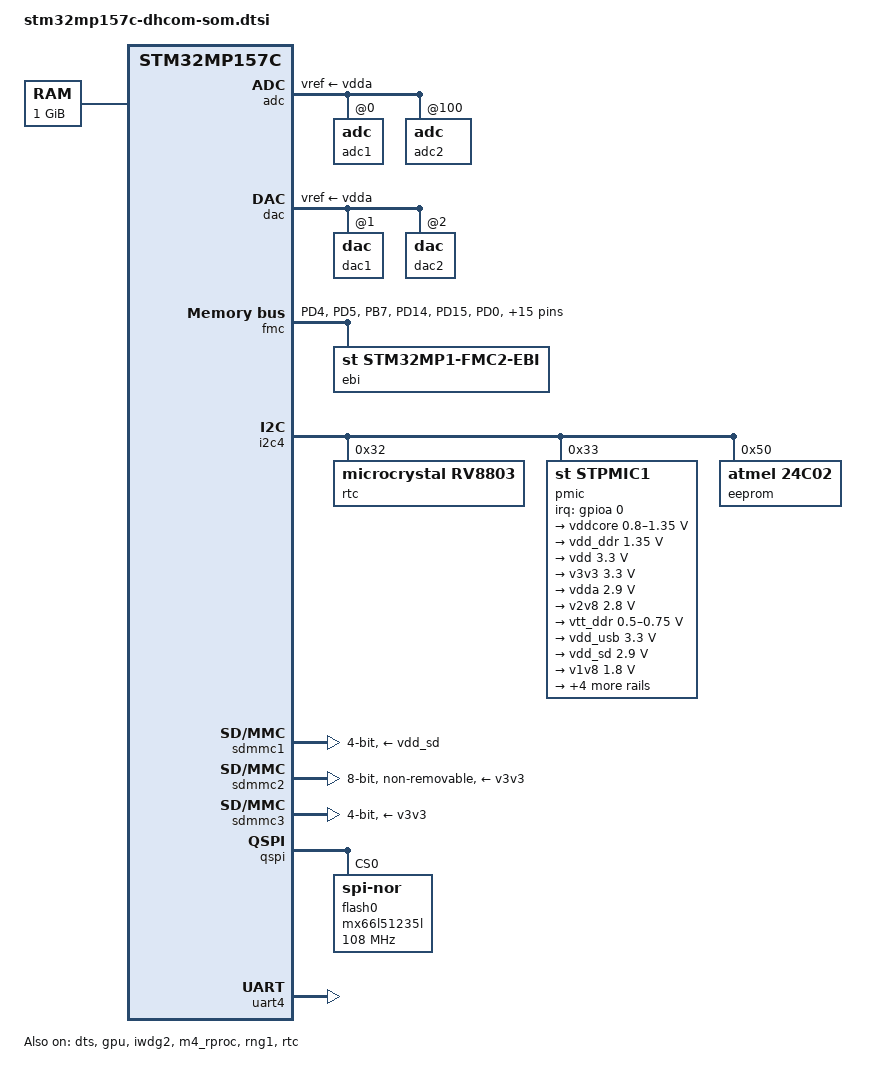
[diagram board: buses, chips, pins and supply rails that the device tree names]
// SPDX-License-Identifier: (GPL-2.0+ OR BSD-3-Clause)
/*
 * Copyright (C) 2019 Marek Vasut <marex@denx.de>
 */
/dts-v1/;

#include "stm32mp157c.dtsi"
#include "stm32mp157xaa-pinctrl.dtsi"
#include <dt-bindings/gpio/gpio.h>
#include <dt-bindings/mfd/st,stpmic1.h>

/ {
	memory@c0000000 {
		device_type = "memory";
		reg = <0xC0000000 0x40000000>;
	};

	reserved-memory {
		#address-cells = <1>;
		#size-cells = <1>;
		ranges;

		mcuram2: mcuram2@10000000 {
			compatible = "shared-dma-pool";
			reg = <0x10000000 0x40000>;
			no-map;
		};

		vdev0vring0: vdev0vring0@10040000 {
			compatible = "shared-dma-pool";
			reg = <0x10040000 0x1000>;
			no-map;
		};

		vdev0vring1: vdev0vring1@10041000 {
			compatible = "shared-dma-pool";
			reg = <0x10041000 0x1000>;
			no-map;
		};

		vdev0buffer: vdev0buffer@10042000 {
			compatible = "shared-dma-pool";
			reg = <0x10042000 0x4000>;
			no-map;
		};

		mcuram: mcuram@30000000 {
			compatible = "shared-dma-pool";
			reg = <0x30000000 0x40000>;
			no-map;
		};

		retram: retram@38000000 {
			compatible = "shared-dma-pool";
			reg = <0x38000000 0x10000>;
			no-map;
		};
	};
};

&adc {
	vdd-supply = <&vdd>;
	vdda-supply = <&vdda>;
	vref-supply = <&vdda>;
	status = "okay";

	adc1: adc@0 {
		st,min-sample-time-nsecs = <5000>;
		st,adc-channels = <0>;
		status = "okay";
	};

	adc2: adc@100 {
		st,adc-channels = <1>;
		st,min-sample-time-nsecs = <5000>;
		status = "okay";
	};
};

&dac {
	pinctrl-names = "default";
	pinctrl-0 = <&dac_ch1_pins_a &dac_ch2_pins_a>;
	vref-supply = <&vdda>;
	status = "okay";

	dac1: dac@1 {
		status = "okay";
	};
	dac2: dac@2 {
		status = "okay";
	};
};

&dts {
	status = "okay";
};

&fmc {
	pinctrl-names = "default", "sleep";
	pinctrl-0 = <&fmc_pins_b>;
	pinctrl-1 = <&fmc_sleep_pins_b>;
	status = "okay";
	#address-cells = <1>;
	#size-cells = <1>;
	/delete-property/interrupts;
	/delete-property/dmas;
	/delete-property/dma-names;
	reg = <0x58002000 0x1000>;
	ranges;

	ebi {
		#address-cells = <2>;
		#size-cells = <1>;
		compatible = "st,stm32mp1-fmc2-ebi";
		ranges = <0 0 0x60000000 0x4000000>,
			 <1 0 0x64000000 0x4000000>,
			 <2 0 0x68000000 0x4000000>,
			 <3 0 0x6c000000 0x4000000>;

		ksz8851: ks8851mll@0,0 {
			compatible = "micrel,ks8851-mll";
			reg = <1 0x0 0x2 1 0x2 0x20000>;
			interrupt-parent = <&gpioc>;
			interrupts = <3 IRQ_TYPE_LEVEL_LOW>;
			bank-width = <2>;

			/* Timing values are in nS */
			st,fmc2_ebi_cs_mux_enable;
			st,fmc2_ebi_cs_transaction_type = <4>;
			st,fmc2_ebi_cs_buswidth = <16>;
			st,fmc2_ebi_cs_address_setup = <6>;
			st,fmc2_ebi_cs_address_hold = <6>;
			st,fmc2_ebi_cs_data_setup = <127>;
			st,fmc2_ebi_cs_bus_turnaround = <9>;
			st,fmc2_ebi_cs_data_hold = <9>;
		};
	};
};

&gpioc {
	status = "okay";
};

&gpu {
	status = "okay";
};

&i2c4 {
	pinctrl-names = "default";
	pinctrl-0 = <&i2c4_pins_a>;
	i2c-scl-rising-time-ns = <185>;
	i2c-scl-falling-time-ns = <20>;
	status = "okay";
	/* spare dmas for other usage */
	/delete-property/dmas;
	/delete-property/dma-names;

	rtc@32 {
		compatible = "microcrystal,rv8803";
		reg = <0x32>;
	};

	pmic: stpmic@33 {
		compatible = "st,stpmic1";
		reg = <0x33>;
		interrupts-extended = <&gpioa 0 IRQ_TYPE_EDGE_FALLING>;
		interrupt-controller;
		#interrupt-cells = <2>;
		status = "okay";

		regulators {
			compatible = "st,stpmic1-regulators";
			ldo1-supply = <&v3v3>;
			ldo2-supply = <&v3v3>;
			ldo3-supply = <&vdd_ddr>;
			ldo5-supply = <&v3v3>;
			ldo6-supply = <&v3v3>;
			pwr_sw1-supply = <&bst_out>;
			pwr_sw2-supply = <&bst_out>;

			vddcore: buck1 {
				regulator-name = "vddcore";
				regulator-min-microvolt = <800000>;
				regulator-max-microvolt = <1350000>;
				regulator-always-on;
				regulator-initial-mode = <0>;
				regulator-over-current-protection;
			};

			vdd_ddr: buck2 {
				regulator-name = "vdd_ddr";
				regulator-min-microvolt = <1350000>;
				regulator-max-microvolt = <1350000>;
				regulator-always-on;
				regulator-initial-mode = <0>;
				regulator-over-current-protection;
			};

			vdd: buck3 {
				regulator-name = "vdd";
				regulator-min-microvolt = <3300000>;
				regulator-max-microvolt = <3300000>;
				regulator-always-on;
				st,mask-reset;
				regulator-initial-mode = <0>;
				regulator-over-current-protection;
			};

			v3v3: buck4 {
				regulator-name = "v3v3";
				regulator-min-microvolt = <3300000>;
				regulator-max-microvolt = <3300000>;
				regulator-always-on;
				regulator-over-current-protection;
				regulator-initial-mode = <0>;
			};

			vdda: ldo1 {
				regulator-name = "vdda";
				regulator-min-microvolt = <2900000>;
				regulator-max-microvolt = <2900000>;
				interrupts = <IT_CURLIM_LDO1 0>;
			};

			v2v8: ldo2 {
				regulator-name = "v2v8";
				regulator-min-microvolt = <2800000>;
				regulator-max-microvolt = <2800000>;
				interrupts = <IT_CURLIM_LDO2 0>;
			};

			vtt_ddr: ldo3 {
				regulator-name = "vtt_ddr";
				regulator-min-microvolt = <500000>;
				regulator-max-microvolt = <750000>;
				regulator-always-on;
				regulator-over-current-protection;
			};

			vdd_usb: ldo4 {
				regulator-name = "vdd_usb";
				regulator-min-microvolt = <3300000>;
				regulator-max-microvolt = <3300000>;
				interrupts = <IT_CURLIM_LDO4 0>;
			};

			vdd_sd: ldo5 {
				regulator-name = "vdd_sd";
				regulator-min-microvolt = <2900000>;
				regulator-max-microvolt = <2900000>;
				interrupts = <IT_CURLIM_LDO5 0>;
				regulator-boot-on;
			};

			v1v8: ldo6 {
				regulator-name = "v1v8";
				regulator-min-microvolt = <1800000>;
				regulator-max-microvolt = <1800000>;
				interrupts = <IT_CURLIM_LDO6 0>;
			};

			vref_ddr: vref_ddr {
				regulator-name = "vref_ddr";
				regulator-always-on;
				regulator-over-current-protection;
			};

			bst_out: boost {
				regulator-name = "bst_out";
				interrupts = <IT_OCP_BOOST 0>;
			};

			vbus_otg: pwr_sw1 {
				regulator-name = "vbus_otg";
				interrupts = <IT_OCP_OTG 0>;
			};

			vbus_sw: pwr_sw2 {
				regulator-name = "vbus_sw";
				interrupts = <IT_OCP_SWOUT 0>;
				regulator-active-discharge;
			};
		};

		onkey {
			compatible = "st,stpmic1-onkey";
			interrupts = <IT_PONKEY_F 0>, <IT_PONKEY_R 0>;
			interrupt-names = "onkey-falling", "onkey-rising";
			power-off-time-sec = <10>;
			status = "okay";
		};

		watchdog {
			compatible = "st,stpmic1-wdt";
			status = "disabled";
		};
	};

	touchscreen@49 {
		compatible = "ti,tsc2004";
		reg = <0x49>;
		vio-supply = <&v3v3>;
		interrupts-extended = <&gpioh 3 IRQ_TYPE_EDGE_FALLING>;
		status = "disabled";
	};

	eeprom@50 {
		compatible = "atmel,24c02";
		reg = <0x50>;
		pagesize = <16>;
	};
};

&ipcc {
	status = "okay";
};

&iwdg2 {
	timeout-sec = <32>;
	status = "okay";
};

&m4_rproc {
	memory-region = <&retram>, <&mcuram>, <&mcuram2>, <&vdev0vring0>,
			<&vdev0vring1>, <&vdev0buffer>;
	mboxes = <&ipcc 0>, <&ipcc 1>, <&ipcc 2>;
	mbox-names = "vq0", "vq1", "shutdown";
	interrupt-parent = <&exti>;
	interrupts = <68 1>;
	status = "okay";
};

&pinctrl {
	fmc_pins_b: fmc-1 {
		pins1 {
			pinmux = <STM32_PINMUX('D', 4, AF12)>, /* FMC_NOE */
				 <STM32_PINMUX('D', 5, AF12)>, /* FMC_NWE */
				 <STM32_PINMUX('B', 7, AF12)>, /* FMC_NL */
				 <STM32_PINMUX('D', 14, AF12)>, /* FMC_D0 */
				 <STM32_PINMUX('D', 15, AF12)>, /* FMC_D1 */
				 <STM32_PINMUX('D', 0, AF12)>, /* FMC_D2 */
				 <STM32_PINMUX('D', 1, AF12)>, /* FMC_D3 */
				 <STM32_PINMUX('E', 7, AF12)>, /* FMC_D4 */
				 <STM32_PINMUX('E', 8, AF12)>, /* FMC_D5 */
				 <STM32_PINMUX('E', 9, AF12)>, /* FMC_D6 */
				 <STM32_PINMUX('E', 10, AF12)>, /* FMC_D7 */
				 <STM32_PINMUX('E', 11, AF12)>, /* FMC_D8 */
				 <STM32_PINMUX('E', 12, AF12)>, /* FMC_D9 */
				 <STM32_PINMUX('E', 13, AF12)>, /* FMC_D10 */
				 <STM32_PINMUX('E', 14, AF12)>, /* FMC_D11 */
				 <STM32_PINMUX('E', 15, AF12)>, /* FMC_D12 */
				 <STM32_PINMUX('D', 8, AF12)>, /* FMC_D13 */
				 <STM32_PINMUX('D', 9, AF12)>, /* FMC_D14 */
				 <STM32_PINMUX('D', 10, AF12)>, /* FMC_D15 */
				 <STM32_PINMUX('G', 9, AF12)>, /* FMC_NE2_FMC_NCE */
				 <STM32_PINMUX('G', 12, AF12)>; /* FMC_NE4 */
			bias-disable;
			drive-push-pull;
			slew-rate = <3>;
		};
	};

	fmc_sleep_pins_b: fmc-sleep-1 {
		pins {
			pinmux = <STM32_PINMUX('D', 4, ANALOG)>, /* FMC_NOE */
				 <STM32_PINMUX('D', 5, ANALOG)>, /* FMC_NWE */
				 <STM32_PINMUX('B', 7, ANALOG)>, /* FMC_NL */
				 <STM32_PINMUX('D', 14, ANALOG)>, /* FMC_D0 */
				 <STM32_PINMUX('D', 15, ANALOG)>, /* FMC_D1 */
				 <STM32_PINMUX('D', 0, ANALOG)>, /* FMC_D2 */
				 <STM32_PINMUX('D', 1, ANALOG)>, /* FMC_D3 */
				 <STM32_PINMUX('E', 7, ANALOG)>, /* FMC_D4 */
				 <STM32_PINMUX('E', 8, ANALOG)>, /* FMC_D5 */
				 <STM32_PINMUX('E', 9, ANALOG)>, /* FMC_D6 */
				 <STM32_PINMUX('E', 10, ANALOG)>, /* FMC_D7 */
				 <STM32_PINMUX('E', 11, ANALOG)>, /* FMC_D8 */
				 <STM32_PINMUX('E', 12, ANALOG)>, /* FMC_D9 */
				 <STM32_PINMUX('E', 13, ANALOG)>, /* FMC_D10 */
				 <STM32_PINMUX('E', 14, ANALOG)>, /* FMC_D11 */
				 <STM32_PINMUX('E', 15, ANALOG)>, /* FMC_D12 */
				 <STM32_PINMUX('D', 8, ANALOG)>, /* FMC_D13 */
				 <STM32_PINMUX('D', 9, ANALOG)>, /* FMC_D14 */
				 <STM32_PINMUX('D', 10, ANALOG)>, /* FMC_D15 */
				 <STM32_PINMUX('G', 9, ANALOG)>, /* FMC_NE2_FMC_NCE */
				 <STM32_PINMUX('G', 12, ANALOG)>; /* FMC_NE4 */
		};
	};
};

&pwr_regulators {
	vdd-supply = <&vdd>;
	vdd_3v3_usbfs-supply = <&vdd_usb>;
};

&rng1 {
	status = "okay";
};

&rtc {
	status = "okay";
};

&sdmmc1 {
	pinctrl-names = "default", "opendrain", "sleep";
	pinctrl-0 = <&sdmmc1_b4_pins_a &sdmmc1_dir_pins_a>;
	pinctrl-1 = <&sdmmc1_b4_od_pins_a &sdmmc1_dir_pins_a>;
	pinctrl-2 = <&sdmmc1_b4_sleep_pins_a &sdmmc1_dir_sleep_pins_a>;
	broken-cd;
	st,sig-dir;
	st,neg-edge;
	st,use-ckin;
	bus-width = <4>;
	vmmc-supply = <&vdd_sd>;
	status = "okay";
};

&sdmmc2 {
	pinctrl-names = "default", "opendrain", "sleep";
	pinctrl-0 = <&sdmmc2_b4_pins_a &sdmmc2_d47_pins_a>;
	pinctrl-1 = <&sdmmc2_b4_od_pins_a &sdmmc2_d47_pins_a>;
	pinctrl-2 = <&sdmmc2_b4_sleep_pins_a &sdmmc2_d47_sleep_pins_a>;
	non-removable;
	no-sd;
	no-sdio;
	st,neg-edge;
	bus-width = <8>;
	vmmc-supply = <&v3v3>;
	vqmmc-supply = <&v3v3>;
	mmc-ddr-3_3v;
	status = "okay";
};

&sdmmc3 {
	pinctrl-names = "default", "opendrain", "sleep";
	pinctrl-0 = <&sdmmc3_b4_pins_a>;
	pinctrl-1 = <&sdmmc3_b4_od_pins_a>;
	pinctrl-2 = <&sdmmc3_b4_sleep_pins_a>;
	broken-cd;
	st,neg-edge;
	bus-width = <4>;
	vmmc-supply = <&v3v3>;
	vqmmc-supply = <&v3v3>;
	mmc-ddr-3_3v;
	status = "okay";
};

&qspi {
	pinctrl-names = "default", "sleep";
	pinctrl-0 = <&qspi_clk_pins_a &qspi_bk1_pins_a &qspi_bk2_pins_a>;
	pinctrl-1 = <&qspi_clk_sleep_pins_a &qspi_bk1_sleep_pins_a &qspi_bk2_sleep_pins_a>;
	reg = <0x58003000 0x1000>, <0x70000000 0x4000000>;
	#address-cells = <1>;
	#size-cells = <0>;
	status = "okay";

	flash0: mx66l51235l@0 {
		compatible = "jedec,spi-nor";
		reg = <0>;
		spi-rx-bus-width = <4>;
		spi-max-frequency = <108000000>;
		#address-cells = <1>;
		#size-cells = <1>;
	};
};

&uart4 {
	pinctrl-names = "default";
	pinctrl-0 = <&uart4_pins_a>;
	status = "okay";
};
